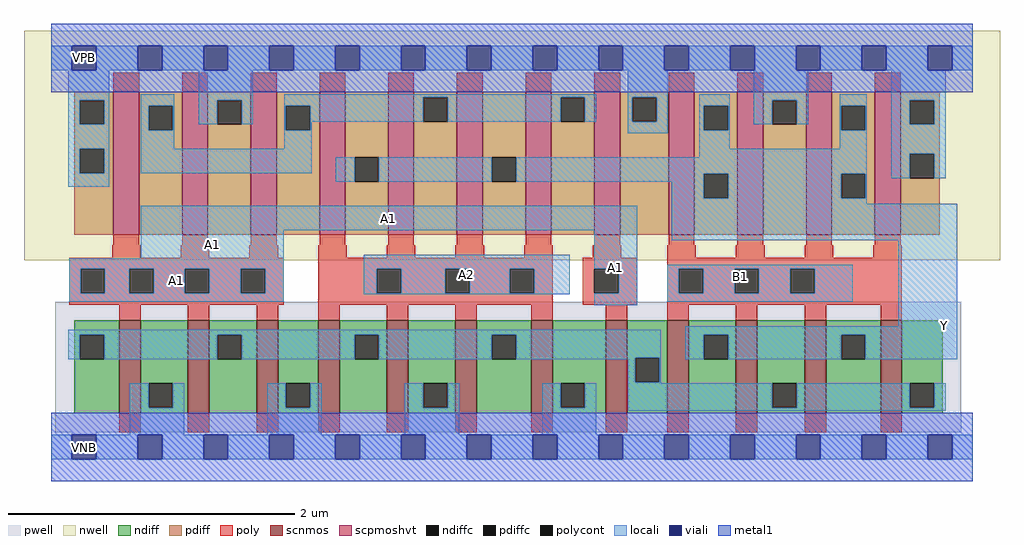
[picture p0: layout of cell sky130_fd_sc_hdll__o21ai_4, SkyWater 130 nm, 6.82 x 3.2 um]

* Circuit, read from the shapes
.subckt sky130_fd_sc_hdll__o21ai_4 A1 A2 B1 VGND VNB VPB VPWR Y
XM1 VGND A1 n1 VNB sky130_fd_pr__nfet_01v8 w=0.65 l=0.15 m=4
XM2 n1 A2 VGND VNB sky130_fd_pr__nfet_01v8 w=0.65 l=0.15 m=4
XM3 Y B1 n1 VNB sky130_fd_pr__nfet_01v8 w=0.65 l=0.15 m=4
XM4 n2 A1 VPWR VPB sky130_fd_pr__pfet_01v8_hvt w=1 l=0.18 m=4
XM5 Y A2 n2 VPB sky130_fd_pr__pfet_01v8_hvt w=1 l=0.18 m=4
XM6 Y B1 VPWR VPB sky130_fd_pr__pfet_01v8_hvt w=1 l=0.18 m=4
.ends

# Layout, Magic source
magic
tech sky130A
magscale 1 2
<< nwell >>
rect -38 261 1326 582
<< pwell >>
rect 6 21 1272 203
rect 29 -17 63 21
<< scnmos >>
rect 95 47 125 177
rect 191 47 221 177
rect 287 47 317 177
rect 373 47 403 177
rect 469 47 499 177
rect 565 47 595 177
rect 671 47 701 177
rect 775 47 805 177
rect 861 47 891 177
rect 957 47 987 177
rect 1053 47 1083 177
rect 1159 47 1189 177
<< scpmoshvt >>
rect 87 297 123 497
rect 183 297 219 497
rect 279 297 315 497
rect 375 297 411 497
rect 471 297 507 497
rect 567 297 603 497
rect 663 297 699 497
rect 759 297 795 497
rect 863 297 899 497
rect 959 297 995 497
rect 1055 297 1091 497
rect 1151 297 1187 497
<< ndiff >>
rect 32 157 95 177
rect 32 123 40 157
rect 74 123 95 157
rect 32 47 95 123
rect 125 89 191 177
rect 125 55 136 89
rect 170 55 191 89
rect 125 47 191 55
rect 221 157 287 177
rect 221 123 232 157
rect 266 123 287 157
rect 221 47 287 123
rect 317 89 373 177
rect 317 55 328 89
rect 362 55 373 89
rect 317 47 373 55
rect 403 157 469 177
rect 403 123 424 157
rect 458 123 469 157
rect 403 47 469 123
rect 499 89 565 177
rect 499 55 520 89
rect 554 55 565 89
rect 499 47 565 55
rect 595 157 671 177
rect 595 123 616 157
rect 650 123 671 157
rect 595 47 671 123
rect 701 89 775 177
rect 701 55 712 89
rect 746 55 775 89
rect 701 47 775 55
rect 805 125 861 177
rect 805 91 816 125
rect 850 91 861 125
rect 805 47 861 91
rect 891 157 957 177
rect 891 123 912 157
rect 946 123 957 157
rect 891 47 957 123
rect 987 89 1053 177
rect 987 55 1008 89
rect 1042 55 1053 89
rect 987 47 1053 55
rect 1083 157 1159 177
rect 1083 123 1104 157
rect 1138 123 1159 157
rect 1083 47 1159 123
rect 1189 89 1246 177
rect 1189 55 1200 89
rect 1234 55 1246 89
rect 1189 47 1246 55
<< pdiff >>
rect 32 485 87 497
rect 32 451 40 485
rect 74 451 87 485
rect 32 417 87 451
rect 32 383 40 417
rect 74 383 87 417
rect 32 297 87 383
rect 123 477 183 497
rect 123 443 136 477
rect 170 443 183 477
rect 123 297 183 443
rect 219 485 279 497
rect 219 451 232 485
rect 266 451 279 485
rect 219 297 279 451
rect 315 477 375 497
rect 315 443 328 477
rect 362 443 375 477
rect 315 297 375 443
rect 411 405 471 497
rect 411 371 424 405
rect 458 371 471 405
rect 411 297 471 371
rect 507 489 567 497
rect 507 455 520 489
rect 554 455 567 489
rect 507 297 567 455
rect 603 405 663 497
rect 603 371 616 405
rect 650 371 663 405
rect 603 297 663 371
rect 699 489 759 497
rect 699 455 712 489
rect 746 455 759 489
rect 699 297 759 455
rect 795 489 863 497
rect 795 455 812 489
rect 846 455 863 489
rect 795 297 863 455
rect 899 477 959 497
rect 899 443 912 477
rect 946 443 959 477
rect 899 382 959 443
rect 899 348 912 382
rect 946 348 959 382
rect 899 297 959 348
rect 995 485 1055 497
rect 995 451 1008 485
rect 1042 451 1055 485
rect 995 297 1055 451
rect 1091 477 1151 497
rect 1091 443 1104 477
rect 1138 443 1151 477
rect 1091 382 1151 443
rect 1091 348 1104 382
rect 1138 348 1151 382
rect 1091 297 1151 348
rect 1187 485 1242 497
rect 1187 451 1200 485
rect 1234 451 1242 485
rect 1187 410 1242 451
rect 1187 376 1200 410
rect 1234 376 1242 410
rect 1187 297 1242 376
<< ndiffc >>
rect 40 123 74 157
rect 136 55 170 89
rect 232 123 266 157
rect 328 55 362 89
rect 424 123 458 157
rect 520 55 554 89
rect 616 123 650 157
rect 712 55 746 89
rect 816 91 850 125
rect 912 123 946 157
rect 1008 55 1042 89
rect 1104 123 1138 157
rect 1200 55 1234 89
<< pdiffc >>
rect 40 451 74 485
rect 40 383 74 417
rect 136 443 170 477
rect 232 451 266 485
rect 328 443 362 477
rect 424 371 458 405
rect 520 455 554 489
rect 616 371 650 405
rect 712 455 746 489
rect 812 455 846 489
rect 912 443 946 477
rect 912 348 946 382
rect 1008 451 1042 485
rect 1104 443 1138 477
rect 1104 348 1138 382
rect 1200 451 1234 485
rect 1200 376 1234 410
<< poly >>
rect 87 497 123 523
rect 183 497 219 523
rect 279 497 315 523
rect 375 497 411 523
rect 471 497 507 523
rect 567 497 603 523
rect 663 497 699 523
rect 759 497 795 523
rect 863 497 899 523
rect 959 497 995 523
rect 1055 497 1091 523
rect 1151 497 1187 523
rect 87 282 123 297
rect 183 282 219 297
rect 279 282 315 297
rect 375 282 411 297
rect 471 282 507 297
rect 567 282 603 297
rect 663 282 699 297
rect 759 282 795 297
rect 863 282 899 297
rect 959 282 995 297
rect 1055 282 1091 297
rect 1151 282 1187 297
rect 85 265 125 282
rect 181 265 221 282
rect 277 265 317 282
rect 373 265 413 282
rect 469 265 509 282
rect 565 265 605 282
rect 661 265 701 282
rect 757 265 797 282
rect 861 265 901 282
rect 957 265 997 282
rect 1053 265 1093 282
rect 1149 265 1189 282
rect 25 249 325 265
rect 25 215 41 249
rect 75 215 109 249
rect 143 215 187 249
rect 221 215 265 249
rect 299 215 325 249
rect 25 199 325 215
rect 373 249 701 265
rect 373 215 455 249
rect 489 215 551 249
rect 585 215 641 249
rect 675 215 701 249
rect 373 199 701 215
rect 743 249 819 265
rect 743 215 759 249
rect 793 215 819 249
rect 743 199 819 215
rect 861 249 1189 265
rect 861 215 877 249
rect 911 215 955 249
rect 989 215 1033 249
rect 1067 215 1189 249
rect 861 199 1189 215
rect 95 177 125 199
rect 191 177 221 199
rect 287 177 317 199
rect 373 177 403 199
rect 469 177 499 199
rect 565 177 595 199
rect 671 177 701 199
rect 775 177 805 199
rect 861 177 891 199
rect 957 177 987 199
rect 1053 177 1083 199
rect 1159 177 1189 199
rect 95 21 125 47
rect 191 21 221 47
rect 287 21 317 47
rect 373 21 403 47
rect 469 21 499 47
rect 565 21 595 47
rect 671 21 701 47
rect 775 21 805 47
rect 861 21 891 47
rect 957 21 987 47
rect 1053 21 1083 47
rect 1159 21 1189 47
<< polycont >>
rect 41 215 75 249
rect 109 215 143 249
rect 187 215 221 249
rect 265 215 299 249
rect 455 215 489 249
rect 551 215 585 249
rect 641 215 675 249
rect 759 215 793 249
rect 877 215 911 249
rect 955 215 989 249
rect 1033 215 1067 249
<< locali >>
rect 0 527 29 561
rect 63 527 121 561
rect 155 527 213 561
rect 247 527 305 561
rect 339 527 397 561
rect 431 527 489 561
rect 523 527 581 561
rect 615 527 673 561
rect 707 527 765 561
rect 799 527 857 561
rect 891 527 949 561
rect 983 527 1041 561
rect 1075 527 1133 561
rect 1167 527 1225 561
rect 1259 527 1288 561
rect 24 485 81 527
rect 24 451 40 485
rect 74 451 81 485
rect 24 417 81 451
rect 24 383 40 417
rect 74 383 81 417
rect 125 477 172 493
rect 125 443 136 477
rect 170 443 172 477
rect 206 485 282 527
rect 206 451 232 485
rect 266 451 282 485
rect 326 489 762 493
rect 326 477 520 489
rect 125 417 172 443
rect 326 443 328 477
rect 362 455 520 477
rect 554 455 712 489
rect 746 455 762 489
rect 806 489 862 527
rect 806 455 812 489
rect 846 455 862 489
rect 362 443 364 455
rect 326 417 364 443
rect 806 439 862 455
rect 906 477 948 493
rect 906 443 912 477
rect 946 443 948 477
rect 982 485 1058 527
rect 982 451 1008 485
rect 1042 451 1058 485
rect 1102 477 1140 493
rect 125 383 364 417
rect 906 417 948 443
rect 1102 443 1104 477
rect 1138 443 1140 477
rect 1102 417 1140 443
rect 906 405 1140 417
rect 24 364 81 383
rect 398 371 424 405
rect 458 371 616 405
rect 650 382 1140 405
rect 650 371 912 382
rect 867 348 912 371
rect 946 348 1104 382
rect 1138 348 1140 382
rect 1174 485 1250 527
rect 1174 451 1200 485
rect 1234 451 1250 485
rect 1174 410 1250 451
rect 1174 376 1200 410
rect 1234 376 1250 410
rect 867 340 1140 348
rect 125 303 819 337
rect 125 264 325 303
rect 25 249 325 264
rect 25 215 41 249
rect 75 215 109 249
rect 143 215 187 249
rect 221 215 265 249
rect 299 215 325 249
rect 25 203 325 215
rect 437 249 725 269
rect 437 215 455 249
rect 489 215 551 249
rect 585 215 641 249
rect 675 215 725 249
rect 437 214 725 215
rect 759 249 819 303
rect 867 289 1266 340
rect 793 215 819 249
rect 759 198 819 215
rect 861 249 1120 255
rect 861 215 877 249
rect 911 215 955 249
rect 989 215 1033 249
rect 1067 215 1120 249
rect 861 203 1120 215
rect 1184 169 1266 289
rect 24 157 852 164
rect 24 123 40 157
rect 74 123 232 157
rect 266 123 424 157
rect 458 123 616 157
rect 650 125 852 157
rect 650 123 816 125
rect 806 91 816 123
rect 850 91 852 125
rect 886 157 1266 169
rect 886 123 912 157
rect 946 123 1104 157
rect 1138 123 1266 157
rect 806 89 852 91
rect 110 55 136 89
rect 170 55 186 89
rect 110 17 186 55
rect 302 55 328 89
rect 362 55 378 89
rect 302 17 378 55
rect 494 55 520 89
rect 554 55 570 89
rect 494 17 570 55
rect 686 55 712 89
rect 746 55 762 89
rect 686 17 762 55
rect 806 55 1008 89
rect 1042 55 1200 89
rect 1234 55 1250 89
rect 806 51 1250 55
rect 0 -17 29 17
rect 63 -17 121 17
rect 155 -17 213 17
rect 247 -17 305 17
rect 339 -17 397 17
rect 431 -17 489 17
rect 523 -17 581 17
rect 615 -17 673 17
rect 707 -17 765 17
rect 799 -17 857 17
rect 891 -17 949 17
rect 983 -17 1041 17
rect 1075 -17 1133 17
rect 1167 -17 1225 17
rect 1259 -17 1288 17
<< viali >>
rect 29 527 63 561
rect 121 527 155 561
rect 213 527 247 561
rect 305 527 339 561
rect 397 527 431 561
rect 489 527 523 561
rect 581 527 615 561
rect 673 527 707 561
rect 765 527 799 561
rect 857 527 891 561
rect 949 527 983 561
rect 1041 527 1075 561
rect 1133 527 1167 561
rect 1225 527 1259 561
rect 29 -17 63 17
rect 121 -17 155 17
rect 213 -17 247 17
rect 305 -17 339 17
rect 397 -17 431 17
rect 489 -17 523 17
rect 581 -17 615 17
rect 673 -17 707 17
rect 765 -17 799 17
rect 857 -17 891 17
rect 949 -17 983 17
rect 1041 -17 1075 17
rect 1133 -17 1167 17
rect 1225 -17 1259 17
<< metal1 >>
rect 0 561 1288 592
rect 0 527 29 561
rect 63 527 121 561
rect 155 527 213 561
rect 247 527 305 561
rect 339 527 397 561
rect 431 527 489 561
rect 523 527 581 561
rect 615 527 673 561
rect 707 527 765 561
rect 799 527 857 561
rect 891 527 949 561
rect 983 527 1041 561
rect 1075 527 1133 561
rect 1167 527 1225 561
rect 1259 527 1288 561
rect 0 496 1288 527
rect 0 17 1288 48
rect 0 -17 29 17
rect 63 -17 121 17
rect 155 -17 213 17
rect 247 -17 305 17
rect 339 -17 397 17
rect 431 -17 489 17
rect 523 -17 581 17
rect 615 -17 673 17
rect 707 -17 765 17
rect 799 -17 857 17
rect 891 -17 949 17
rect 983 -17 1041 17
rect 1075 -17 1133 17
rect 1167 -17 1225 17
rect 1259 -17 1288 17
rect 0 -48 1288 -17
<< labels >>
flabel locali s 1232 153 1266 187 0 FreeSans 340 0 0 0 Y
port 8 nsew signal output
flabel locali s 947 221 981 255 0 FreeSans 340 0 0 0 B1
port 3 nsew signal input
flabel locali s 437 214 725 269 0 FreeSans 340 0 0 0 A2
port 2 nsew signal input
flabel locali s 759 198 819 303 0 FreeSans 340 0 0 0 A1
port 1 nsew signal input
flabel pwell s 29 -17 63 17 0 FreeSans 200 0 0 0 VNB
port 5 nsew ground bidirectional
flabel nwell s 29 527 63 561 0 FreeSans 200 0 0 0 VPB
port 6 nsew power bidirectional
flabel metal1 s 29 527 63 561 0 FreeSans 200 0 0 0 VPWR
port 7 nsew power bidirectional
flabel metal1 s 29 -17 63 17 0 FreeSans 200 0 0 0 VGND
port 4 nsew ground bidirectional
rlabel comment s 0 0 0 0 4 o21ai_4
rlabel locali s 125 303 819 337 1 A1
port 1 nsew signal input
rlabel locali s 125 264 325 303 1 A1
port 1 nsew signal input
rlabel locali s 25 203 325 264 1 A1
port 1 nsew signal input
<< properties >>
string LEFsite unithd
string LEFclass CORE
string FIXED_BBOX 0 0 1288 544
string GDS_FILE $PDKPATH/libs.ref/sky130_fd_sc_hdll/gds/sky130_fd_sc_hdll.gds
string LEFsymmetry X Y R90
string GDS_END 2429966
string GDS_START 2421432
string LEFproperties maskLayoutSubType "abstract" prCellType "standard" originalViewName "layout"
<< end >>
